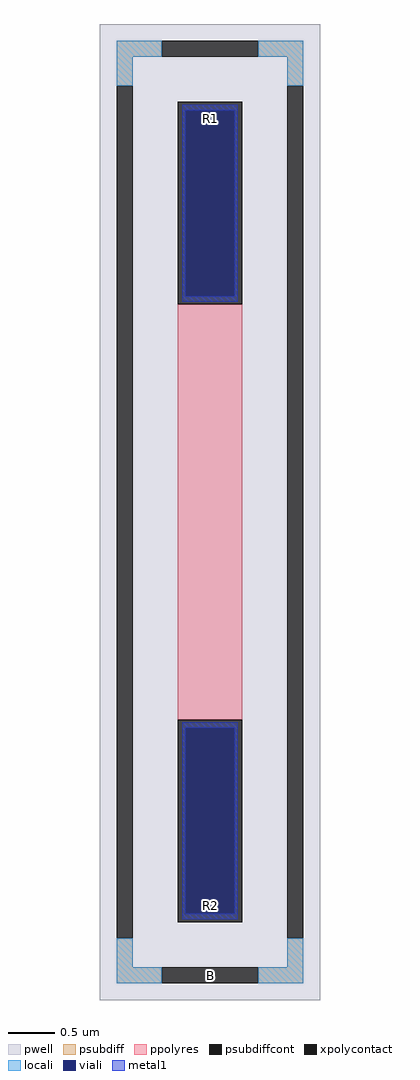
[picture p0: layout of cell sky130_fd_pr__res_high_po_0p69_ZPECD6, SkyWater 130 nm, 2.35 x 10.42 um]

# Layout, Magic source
magic
tech sky130A
magscale 1 2
<< pwell >>
rect -235 -1042 235 1042
<< psubdiff >>
rect -199 972 -103 1006
rect 103 972 199 1006
rect -199 910 -165 972
rect 165 910 199 972
rect -199 -972 -165 -910
rect 165 -972 199 -910
rect -199 -1006 -103 -972
rect 103 -1006 199 -972
<< psubdiffcont >>
rect -103 972 103 1006
rect -199 -910 -165 910
rect 165 -910 199 910
rect -103 -1006 103 -972
<< xpolycontact >>
rect -69 444 69 876
rect -69 -876 69 -444
<< ppolyres >>
rect -69 -444 69 444
<< locali >>
rect -199 972 -103 1006
rect 103 972 199 1006
rect -199 910 -165 972
rect 165 910 199 972
rect -199 -972 -165 -910
rect 165 -972 199 -910
rect -199 -1006 -103 -972
rect 103 -1006 199 -972
<< viali >>
rect -53 461 53 858
rect -53 -858 53 -461
<< metal1 >>
rect -59 858 59 870
rect -59 461 -53 858
rect 53 461 59 858
rect -59 449 59 461
rect -59 -461 59 -449
rect -59 -858 -53 -461
rect 53 -858 59 -461
rect -59 -870 59 -858
<< labels >>
rlabel psubdiffcont 0 -989 0 -989 0 B
port 1 nsew
rlabel xpolycontact 0 841 0 841 0 R1
port 2 nsew
rlabel xpolycontact 0 -841 0 -841 0 R2
port 3 nsew
<< properties >>
string FIXED_BBOX -182 -989 182 989
string gencell sky130_fd_pr__res_high_po_0p69
string library sky130
string parameters w 0.690 l 4.6 m 1 nx 1 wmin 0.690 lmin 0.50 class resistor rho 319.8 val 2.696k dummy 0 dw 0.0 term 194.82 sterm 0.0 caplen 0 guard 1 glc 1 grc 1 gtc 1 gbc 1 compatible {sky130_fd_pr__res_high_po_0p35  sky130_fd_pr__res_high_po_0p69 sky130_fd_pr__res_high_po_1p41  sky130_fd_pr__res_high_po_2p85 sky130_fd_pr__res_high_po_5p73} snake 0 full_metal 1 wmax 0.690 n_guard 0 hv_guard 0 vias 1 viagb 0 viagt 0 viagl 0 viagr 0 doports 1 mult 1
<< end >>
